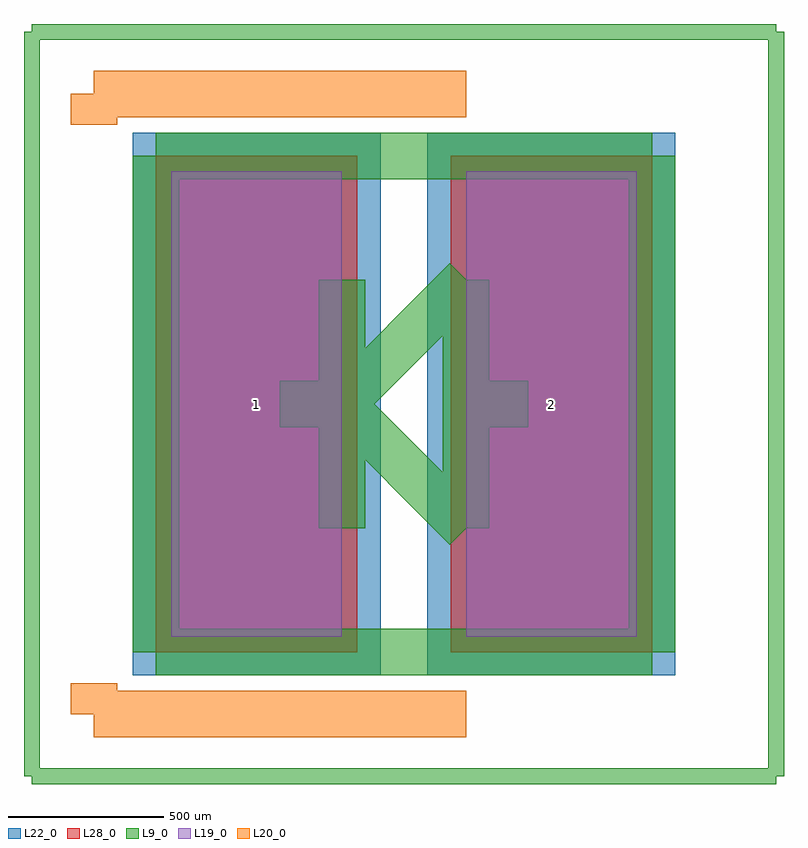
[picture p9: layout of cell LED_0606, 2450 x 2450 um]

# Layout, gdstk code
import gdstk
lib = gdstk.Library(unit=1e-6, precision=1e-09)
def R(c, l, rs):  # rectangles x0, y0, x1, y1
    for r in rs: c.add(gdstk.rectangle(r[:2], r[2:], *l))
L9_0 = (9, 0)
L19_0 = (19, 0)
L20_0 = (20, 0)
L22_0 = (22, 0)
L28_0 = (28, 0)

led_0606 = lib.new_cell('LED_0606')
R(led_0606, L19_0, [(-750,-750,-200,750), (200,-750,750,750)])
R(led_0606, L22_0, [(-875,-875,-75,875), (75,-875,875,875)])
R(led_0606, L28_0, [(-800,-800,-150,800), (150,-800,800,800)])
led_0606.add(gdstk.FlexPath([(-1000,-1000),(-1000,-900)], 149.998, ends="flush", simple_path=True, layer=20, datatype=0))  # L20_0
led_0606.add(gdstk.FlexPath([(-1000,1000),(-1000,900)], 149.998, ends="flush", simple_path=True, layer=20, datatype=0))  # L20_0
led_0606.add(gdstk.FlexPath([(200,0),(400,0)], 149.998, ends="flush", simple_path=True, layer=9, datatype=0))  # L9_0
led_0606.add(gdstk.FlexPath([(200,-400),(-200,0)], 149.998, ends="flush", simple_path=True, layer=9, datatype=0))  # L9_0
led_0606.add(gdstk.FlexPath([(200,400),(200,-400)], 149.998, ends="flush", simple_path=True, layer=9, datatype=0))  # L9_0
led_0606.add(gdstk.FlexPath([(-200,0),(200,400)], 149.998, ends="flush", simple_path=True, layer=9, datatype=0))  # L9_0
led_0606.add(gdstk.FlexPath([(-200,0),(-200,-400)], 149.998, ends="flush", simple_path=True, layer=9, datatype=0))  # L9_0
led_0606.add(gdstk.FlexPath([(-200,400),(-200,0)], 149.998, ends="flush", simple_path=True, layer=9, datatype=0))  # L9_0
led_0606.add(gdstk.FlexPath([(-400,0),(-200,0)], 149.998, ends="flush", simple_path=True, layer=9, datatype=0))  # L9_0
led_0606.add(gdstk.FlexPath([(-800,-800),(-800,800)], 149.998, ends="flush", simple_path=True, layer=9, datatype=0))  # L9_0
led_0606.add(gdstk.FlexPath([(800,-800),(-800,-800)], 149.998, ends="flush", simple_path=True, layer=9, datatype=0))  # L9_0
led_0606.add(gdstk.FlexPath([(800,800),(800,-800)], 149.998, ends="flush", simple_path=True, layer=9, datatype=0))  # L9_0
led_0606.add(gdstk.FlexPath([(-800,800),(800,800)], 149.998, ends="flush", simple_path=True, layer=9, datatype=0))  # L9_0
led_0606.add(gdstk.FlexPath([(1200,-1200),(1200,1200)], 50, ends="flush", simple_path=True, layer=9, datatype=0))  # L9_0
led_0606.add(gdstk.FlexPath([(-1200,-1200),(1200,-1200)], 50, ends="flush", simple_path=True, layer=9, datatype=0))  # L9_0
led_0606.add(gdstk.FlexPath([(-1200,1200),(-1200,-1200)], 50, ends="flush", simple_path=True, layer=9, datatype=0))  # L9_0
led_0606.add(gdstk.FlexPath([(1200,1200),(-1200,1200)], 50, ends="flush", simple_path=True, layer=9, datatype=0))  # L9_0
led_0606.add(gdstk.FlexPath([(-1000,1000),(200,1000)], 149.998, ends="flush", simple_path=True, layer=20, datatype=0))  # L20_0
led_0606.add(gdstk.FlexPath([(-1000,-1000),(200,-1000)], 149.998, ends="flush", simple_path=True, layer=20, datatype=0))  # L20_0
led_0606.add(gdstk.Label('2', (475,0), layer=28, texttype=0))
led_0606.add(gdstk.Label('1', (-475,0), layer=28, texttype=0))
led_0606.add(gdstk.Label('type', (0,-2000), layer=9, texttype=0))
led_0606.add(gdstk.Label('devicename', (0,2000), layer=9, texttype=0))

lib.write_gds('LED_0606.gds')
